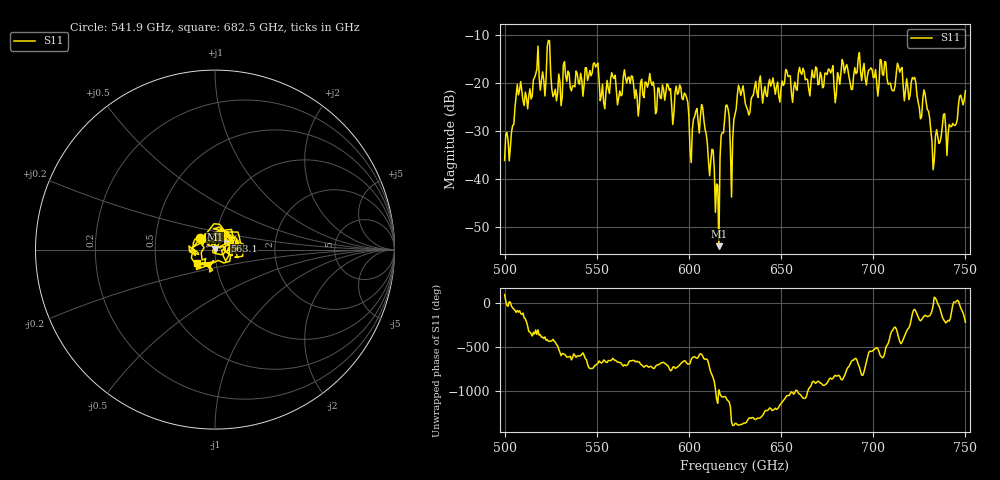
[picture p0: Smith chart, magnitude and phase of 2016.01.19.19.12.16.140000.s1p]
!Created with skrf (http://scikit-rf.org).
# GHz S RI R 50.0
!freq ReS11 ImS11
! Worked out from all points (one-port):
!   401 points, 500 GHz to 750 GHz, reference 50 ohm
!   lowest |S11| = -54.0 dB at 616.2 GHz (marker M1), VSWR 1.00, Z = 50 + j0.197 ohm
!   |S11| at or under -10 dB: start of sweep to end of sweep
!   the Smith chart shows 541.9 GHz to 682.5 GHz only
!   S11 on the Smith chart (normalised r, x): 541.9 GHz: 0.84, +0.11; 563.1 GHz: 1.11, +0.11; 682.5 GHz: 0.81, -0.13
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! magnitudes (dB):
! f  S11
! 500 GHz  -36.1
! 507.5 GHz  -22.5
! 520.6 GHz  -17.7
! 523.8 GHz  -11.2
! 526.9 GHz  -22.3
! 531.2 GHz  -23.0
! 541.9 GHz  -19.4
! 549.4 GHz  -16.7
! 553.1 GHz  -20.3
! 562.5 GHz  -21.7
! 563.1 GHz  -22.7
! 593.8 GHz  -22.4
! 601.2 GHz  -36.6
! 607.5 GHz  -25.2
! 615 GHz  -41.1
! 616.2 GHz  -54.0
! 619.4 GHz  -27.5
! 623.1 GHz  -43.8
! 625 GHz  -26.6
! 628.1 GHz  -22.6
! 656.2 GHz  -24.1
! 682.5 GHz  -17.9
! 687.5 GHz  -20.1
! 714.4 GHz  -17.8
! 718.8 GHz  -20.9
! 728.8 GHz  -24.1
! 732.5 GHz  -38.1
! 750 GHz  -21.7
